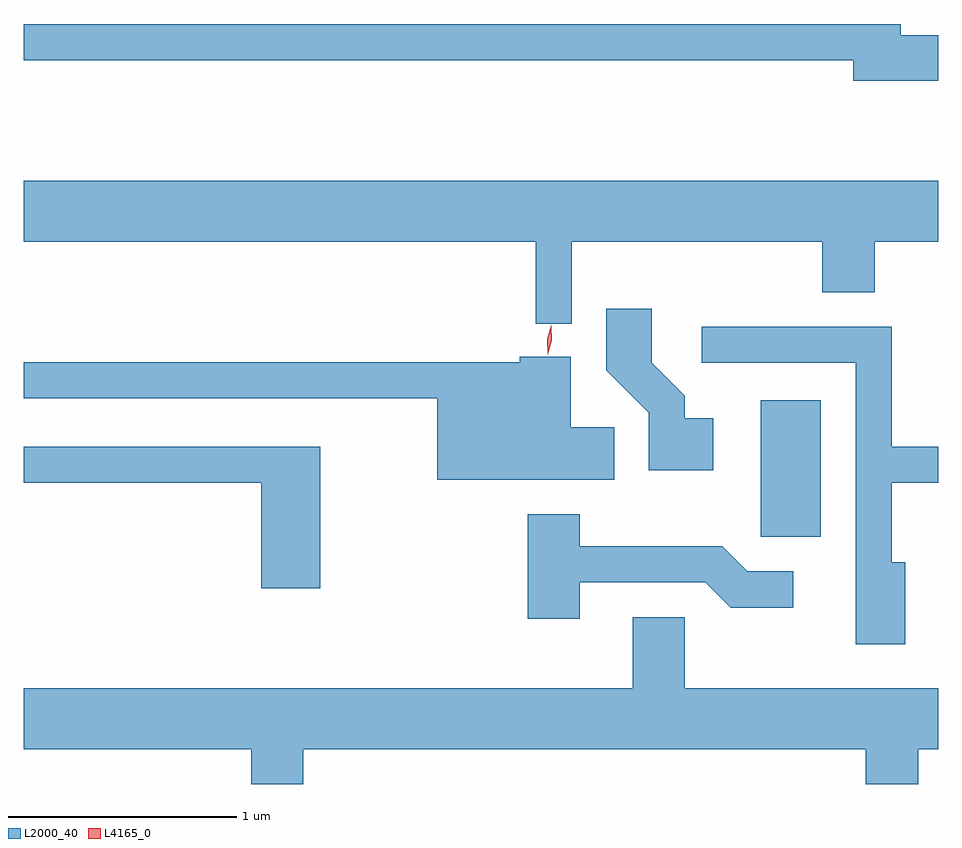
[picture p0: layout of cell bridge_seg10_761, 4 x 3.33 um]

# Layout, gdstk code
import gdstk
lib = gdstk.Library(unit=1e-6, precision=1e-09)
def R(c, l, rs):  # rectangles x0, y0, x1, y1
    for r in rs: c.add(gdstk.rectangle(r[:2], r[2:], *l))
def P(c, l, *ps):  # polygons
    for p in ps: c.add(gdstk.Polygon(p, *l))
L2000_40 = (2000, 40)
L4165_0 = (4165, 0)

bridge_seg10_761 = lib.new_cell('bridge_seg10_761')
R(bridge_seg10_761, L2000_40, [(540.091,2145.926,540.354,2146.524)])
P(bridge_seg10_761, L2000_40, [(540.867,2148.119),(540.704,2148.119),(540.704,2148.169),(536.867,2148.169),(536.867,2148.011),(540.496,2148.011),(540.496,2147.921),(540.867,2147.921)],
  [(539.264,2147.216),(540.361,2147.216),(540.361,2146.996),(540.589,2146.996),(540.589,2147.216),(540.867,2147.216),(540.867,2147.484),(536.867,2147.484),(536.867,2147.216),(539.106,2147.216),(539.106,2146.858),(539.264,2146.858)],
  [(539.884,2146.444),(539.759,2146.444),(539.759,2146.542),(539.614,2146.687),(539.614,2146.924),(539.416,2146.924),(539.416,2146.654),(539.601,2146.469),(539.601,2146.216),(539.884,2146.216)],
  [(540.724,2145.814),(540.664,2145.814),(540.664,2146.161),(540.867,2146.161),(540.867,2146.319),(540.664,2146.319),(540.664,2146.844),(539.833,2146.844),(539.833,2146.686),(540.506,2146.686),(540.506,2145.456),(540.724,2145.456)],
  [(539.449,2146.404),(539.259,2146.404),(539.259,2146.714),(539.036,2146.714),(539.036,2146.689),(536.867,2146.689),(536.867,2146.531),(538.676,2146.531),(538.676,2146.176),(539.449,2146.176)],
  [(538.164,2146.319),(536.867,2146.319),(536.867,2146.161),(537.906,2146.161),(537.906,2145.701),(538.164,2145.701)],
  [(539.299,2145.726),(539.849,2145.726),(539.959,2145.616),(540.233,2145.616),(540.233,2145.774),(540.032,2145.774),(539.922,2145.884),(539.299,2145.884),(539.299,2146.024),(539.071,2146.024),(539.071,2145.566),(539.299,2145.566)],
  [(536.867,2144.996),(537.861,2144.996),(537.861,2144.844),(538.089,2144.844),(538.089,2144.996),(540.551,2144.996),(540.551,2144.844),(540.779,2144.844),(540.779,2144.996),(540.867,2144.996),(540.867,2145.264),(539.759,2145.264),(539.759,2145.574),(539.531,2145.574),(539.531,2145.264),(536.867,2145.264)])
P(bridge_seg10_761, L4165_0, [(539.158,2146.723),(539.158,2146.724),(539.156,2146.789),(539.174,2146.851),(539.174,2146.852),(539.175,2146.851),(539.176,2146.786),(539.158,2146.724)])

lib.write_gds('bridge_seg10_761.gds')
